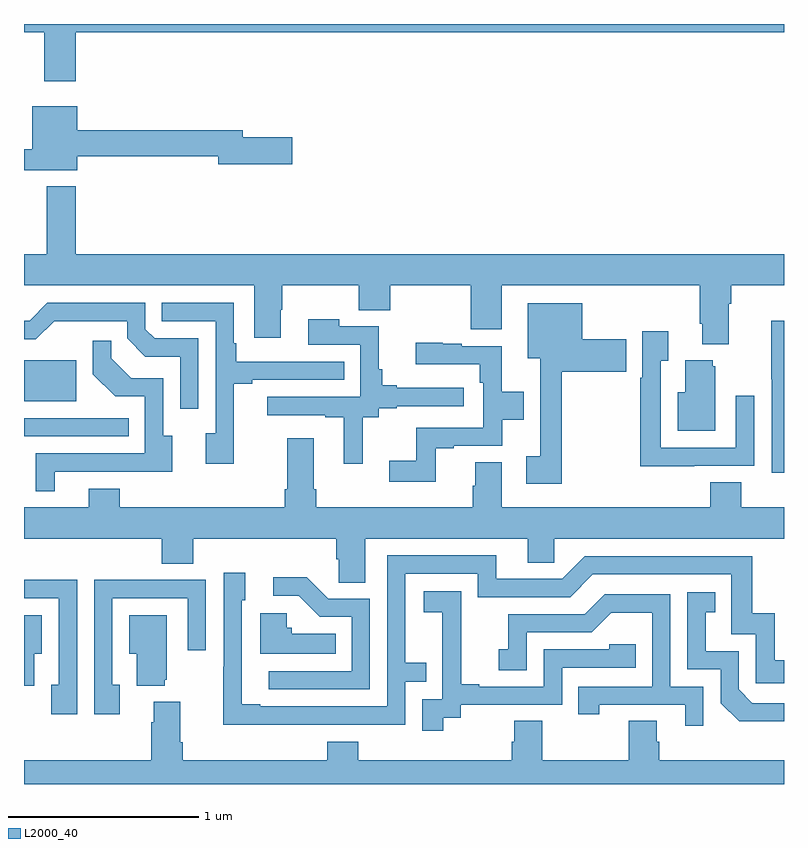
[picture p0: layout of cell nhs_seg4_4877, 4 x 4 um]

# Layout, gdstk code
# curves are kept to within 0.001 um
import gdstk
lib = gdstk.Library(unit=1e-6, precision=1e-09)
def R(c, l, rs):  # rectangles x0, y0, x1, y1
    for r in rs: c.add(gdstk.rectangle(r[:2], r[2:], *l))
def P(c, l, *ps):  # polygons
    for p in ps: c.add(gdstk.Polygon(p, *l))
L2000_40 = (2000, 40)

nhs_seg4_4877 = lib.new_cell('nhs_seg4_4877')
R(nhs_seg4_4877, L2000_40, [(375,758.73,375.551,758.826), (375,758.915,375.274,759.13)])
P(nhs_seg4_4877, L2000_40, [(375,760.856),(375.107,760.856),(375.107,760.599),(375.272,760.599),(375.272,760.856),(379,760.856),(379,760.9),(375,760.9)],
  [(375.28,760.204),(376.022,760.204),(376.022,760.162),(376.411,760.162),(376.411,760.304),(376.15,760.304),(376.15,760.34),(375.28,760.34),(375.28,760.468),(375.044,760.468),(375.044,760.241),(375,760.241),(375,760.131),(375.28,760.131)],
  [(378.709,759.428),(378.722,759.428),(378.722,759.524),(379,759.524),(379,759.688),(375.272,759.688),(375.272,760.045),(375.119,760.045),(375.119,759.688),(375,759.688),(375,759.524),(376.211,759.524),(376.211,759.249),(376.351,759.249),(376.351,759.395),(376.359,759.395),(376.359,759.524),(376.763,759.524),(376.763,759.394),(376.927,759.394),(376.927,759.524),(377.351,759.524),(377.351,759.294),(377.515,759.294),(377.515,759.524),(378.557,759.524),(378.557,759.322),(378.569,759.322),(378.569,759.215),(378.709,759.215)],
  [(375.918,759.246),(375.687,759.246),(375.639,759.294),(375.639,759.432),(375.123,759.432),(375.029,759.338),(375,759.338),(375,759.24),(375.063,759.24),(375.158,759.335),(375.543,759.336),(375.543,759.246),(375.639,759.15),(375.822,759.15),(375.822,758.874),(375.918,758.874)],
  [(376.105,759.007),(376.201,759.007),(376.201,759.027),(376.685,759.027),(376.685,759.123),(376.117,759.123),(376.117,759.22),(376.104,759.22),(376.104,759.432),(375.724,759.432),(375.724,759.336),(376.008,759.336),(376.008,758.747),(375.957,758.747),(375.957,758.586),(376.105,758.586)],
  [(377.831,759.071),(378.169,759.071),(378.169,759.241),(377.938,759.241),(377.938,759.43),(377.651,759.43),(377.651,759.14),(377.717,759.14),(377.717,758.626),(377.643,758.626),(377.643,758.48),(377.831,758.48)],
  [(376.784,758.829),(376.866,758.829),(376.866,758.877),(376.963,758.877),(376.963,758.889),(377.314,758.889),(377.314,758.985),(376.963,758.985),(376.963,758.998),(376.886,758.998),(376.886,759.082),(376.868,759.082),(376.868,759.309),(376.658,759.309),(376.658,759.346),(376.497,759.346),(376.497,759.213),(376.77,759.213),(376.77,758.937),(376.281,758.937),(376.281,758.841),(376.586,758.841),(376.586,758.829),(376.682,758.829),(376.682,758.586),(376.784,758.586)],
  [(379,759.338),(378.934,759.338),(378.934,759.031),(378.936,759.031),(378.936,758.538),(379,758.538)],
  [(378.527,758.574),(378.843,758.574),(378.843,758.944),(378.747,758.944),(378.747,758.67),(378.351,758.67),(378.351,759.127),(378.391,759.127),(378.391,759.283),(378.255,759.283),(378.255,759.038),(378.243,759.038),(378.243,758.573),(378.527,758.573)],
  [(375.161,758.544),(375.781,758.544),(375.781,758.734),(375.732,758.734),(375.732,759.036),(375.565,759.036),(375.459,759.142),(375.459,759.233),(375.363,759.233),(375.363,759.056),(375.479,758.94),(375.636,758.94),(375.636,758.64),(375.062,758.64),(375.062,758.442),(375.161,758.442)],
  [(377.168,758.667),(377.263,758.667),(377.263,758.679),(377.516,758.679),(377.516,758.816),(377.629,758.816),(377.629,758.964),(377.515,758.964),(377.515,759.204),(377.305,759.204),(377.305,759.217),(377.205,759.217),(377.205,759.222),(377.061,759.222),(377.061,759.108),(377.398,759.108),(377.398,759.011),(377.418,759.011),(377.418,758.775),(377.065,758.775),(377.065,758.602),(376.923,758.602),(376.923,758.492),(377.168,758.492)],
  [(378.637,759.099),(378.626,759.099),(378.626,759.13),(378.479,759.13),(378.479,758.962),(378.44,758.962),(378.44,758.759),(378.637,758.759)],
  [(376.795,758.192),(377.651,758.192),(377.651,758.065),(377.79,758.065),(377.79,758.192),(379,758.192),(379,758.356),(378.776,758.356),(378.776,758.489),(378.611,758.489),(378.611,758.356),(377.515,758.356),(377.515,758.594),(377.375,758.594),(377.375,758.469),(377.363,758.469),(377.363,758.356),(376.538,758.356),(376.538,758.452),(376.525,758.452),(376.525,758.719),(376.385,758.719),(376.385,758.452),(376.373,758.452),(376.373,758.356),(375.505,758.356),(375.505,758.455),(375.341,758.455),(375.341,758.356),(375,758.356),(375,758.192),(375.725,758.192),(375.725,758.059),(375.89,758.059),(375.89,758.192),(376.643,758.192),(376.643,758.083),(376.656,758.083),(376.656,757.96),(376.795,757.96)],
  [(376.511,757.212),(377.007,757.212),(377.007,757.437),(377.117,757.437),(377.117,757.538),(377.007,757.538),(377.007,758.007),(377.388,758.007),(377.388,757.884),(377.874,757.884),(377.994,758.004),(378.723,758.004),(378.723,757.689),(378.852,757.689),(378.852,757.431),(379,757.431),(379,757.551),(378.95,757.551),(378.95,757.798),(378.832,757.798),(378.832,758.1),(377.952,758.1),(377.832,757.98),(377.485,757.98),(377.485,758.103),(376.911,758.103),(376.911,757.308),(376.243,757.308),(376.243,757.321),(376.146,757.321),(376.146,757.866),(376.165,757.866),(376.165,758.011),(376.05,758.011),(376.05,757.517),(376.048,757.517),(376.048,757.211)],
  [(376.821,757.875),(376.602,757.875),(376.489,757.988),(376.311,757.988),(376.311,757.89),(376.445,757.89),(376.556,757.779),(376.725,757.779),(376.725,757.494),(376.287,757.494),(376.287,757.398),(376.821,757.398)],
  [(375.279,757.976),(375.007,757.976),(375.007,757.974),(375,757.974),(375,757.878),(375.183,757.878),(375.183,757.422),(375.143,757.422),(375.143,757.266),(375.279,757.266)],
  [(375.505,757.422),(375.465,757.422),(375.465,757.878),(375.861,757.878),(375.861,757.605),(375.957,757.605),(375.957,757.974),(375.641,757.974),(375.641,757.976),(375.369,757.976),(375.369,757.266),(375.505,757.266)],
  [(377.206,757.249),(377.298,757.249),(377.298,757.317),(377.832,757.317),(377.832,757.512),(378.221,757.512),(378.221,757.635),(378.081,757.635),(378.081,757.608),(377.736,757.608),(377.736,757.413),(377.395,757.413),(377.395,757.426),(377.3,757.426),(377.3,757.709),(377.301,757.709),(377.301,757.915),(377.103,757.915),(377.103,757.805),(377.201,757.805),(377.201,757.577),(377.202,757.577),(377.202,757.347),(377.097,757.347),(377.097,757.179),(377.206,757.179)],
  [(379,757.326),(378.834,757.326),(378.762,757.398),(378.762,757.599),(378.589,757.599),(378.589,757.803),(378.638,757.803),(378.638,757.909),(378.492,757.909),(378.492,757.503),(378.666,757.503),(378.666,757.326),(378.764,757.229),(379,757.229)],
  [(378.576,757.413),(378.402,757.413),(378.402,757.899),(378.056,757.899),(377.951,757.794),(377.548,757.794),(377.548,757.609),(377.499,757.609),(377.499,757.5),(377.646,757.5),(377.646,757.698),(377.988,757.698),(378.092,757.802),(378.306,757.802),(378.306,757.413),(377.917,757.413),(377.917,757.266),(378.028,757.266),(378.028,757.317),(378.479,757.317),(378.479,757.206),(378.576,757.206)],
  [(376.64,757.69),(376.41,757.69),(376.41,757.722),(376.383,757.722),(376.383,757.798),(376.244,757.798),(376.244,757.586),(376.64,757.586)],
  [(375.055,757.586),(375.094,757.586),(375.094,757.789),(375,757.789),(375,757.418),(375.055,757.418)],
  [(375.74,757.449),(375.751,757.449),(375.751,757.789),(375.554,757.789),(375.554,757.586),(375.593,757.586),(375.593,757.418),(375.74,757.418)],
  [(379,757.024),(378.344,757.024),(378.344,757.122),(378.331,757.122),(378.331,757.232),(378.184,757.232),(378.184,757.024),(377.727,757.024),(377.727,757.232),(377.579,757.232),(377.579,757.122),(377.567,757.122),(377.567,757.024),(376.76,757.024),(376.76,757.123),(376.595,757.123),(376.595,757.024),(375.836,757.024),(375.836,757.12),(375.823,757.12),(375.823,757.333),(375.683,757.333),(375.683,757.226),(375.671,757.226),(375.671,757.024),(375,757.024),(375,756.9),(379,756.9)])

lib.write_gds('nhs_seg4_4877.gds')
